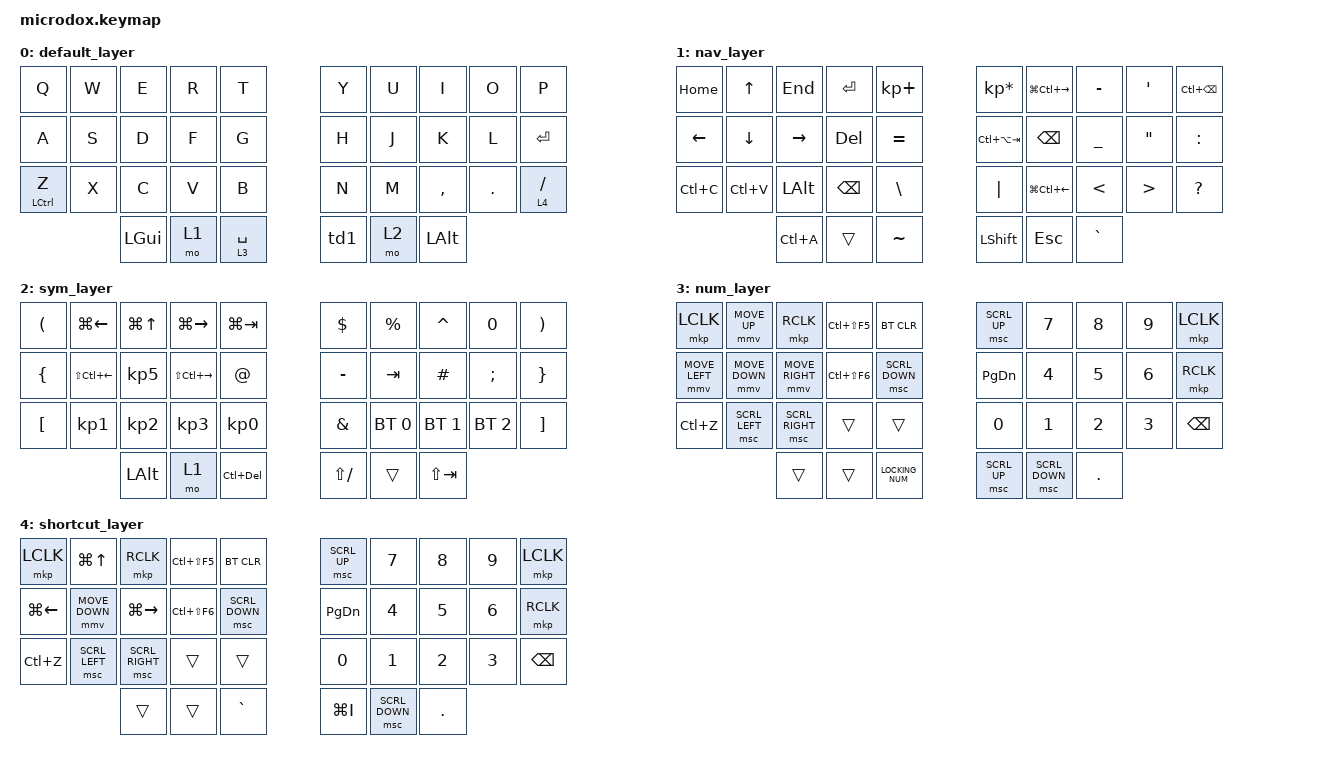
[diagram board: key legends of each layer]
/*
 * Copyright (c) 2020 The ZMK Contributors
 *
 * SPDX-License-Identifier: MIT
 */

 #include <behaviors.dtsi>
 #include <dt-bindings/zmk/keys.h>
 #include <dt-bindings/zmk/bt.h>
 #include <dt-bindings/zmk/pointing.h>

 // Ctrl+Shift+Alt combined modifier (avoids triple-nesting DTS parse error in Zephyr 4.1)
 #define MEH(kc) ((kc) | (0x07 << 24))

 #define SHORTCUT_LAYER 4

 // MOD TAB CTRL Z
 &mt {
     tapping-term-ms = <150>;
 };


// SHIFT AND CAPSLOCK
/ {
    behaviors {
        td1: tap_dance_0 {
            compatible = "zmk,behavior-tap-dance";
            label = "TAP_DANCE_0";
            #binding-cells = <0>;
            tapping-term-ms = <200>;
            bindings = <&kp LSHIFT>, <&kp CAPSLOCK>;
        };
    };
};

 / {
     macros {
         zed_em_kay: zed_em_kay {
             label = "ZM_zed_em_kay";
             compatible = "zmk,behavior-macro";
             #binding-cells = <0>;
             bindings
                 = <&macro_tap &kp HOME>
                 , <&macro_press &kp LSHFT>
                 , <&macro_tap &kp END>
                 , <&macro_release &kp LSHFT>
                 , <&macro_tap &kp BSPC>
                 , <&macro_tap &kp ESC> 
                 ;
         };
         zmk_clear: zmk_clear {
             label = "ZM_zmk_clear";
             compatible = "zmk,behavior-macro";
             #binding-cells = <0>;
             bindings
                 = <&macro_tap &kp C &kp L &kp E &kp A &kp R>
                 , <&macro_tap &kp RET>
                 ;
         };
     };
 };


 / {
     combos {
         compatible = "zmk,combos";
         combo_hash {
             timeout-ms = <50>;
             key-positions = <17 18>;
             bindings = <&kp HASH>;
             layers = <0>;
         };
        combo_at {
             timeout-ms = <50>;
             key-positions = <1 2>;
             bindings = <&kp AT>;
             layers = <0>;
         };
        combo_mul {
             timeout-ms = <50>;
             key-positions = <6 7>;
             bindings = <&kp KP_MULTIPLY>;
             layers = <0>;
         };
         combo_scroll_up {
            timeout-ms = <50>;
            key-positions = <5 6>;
            bindings = <&msc SCRL_UP>;
            layers = <0>;
        };
        combo_scroll_down {
            timeout-ms = <50>;
            key-positions = <15 16>;
            bindings = <&msc SCRL_DOWN>;
            layers = <0>;
        };
         combo_equal {
             timeout-ms = <50>;
             key-positions = <16 17>;
             bindings = <&kp EQUAL>;
             layers = <0>;
         };
         combo_plus {
             timeout-ms = <50>;
             key-positions = <26 27>;
             bindings = <&kp KP_PLUS>;
             layers = <0>;
         };
         combo_and {
             timeout-ms = <50>;
             key-positions = <27 28>;
             bindings = <&kp AMPS>;
             layers = <0>;
         };
         combo_excel {
             timeout-ms = <50>;
             key-positions = <22 23>;
             bindings = <&kp EXCL>;
             layers = <0>;
         };
        combo_tab {
             timeout-ms = <50>;
             key-positions = <11 12>;
             bindings = <&kp TAB>;
             layers = <0>;
         };
         combo_shift_tab {
            timeout-ms = <50>;
            key-positions = <11 13>;
            bindings = <&kp LS(TAB)>;
            layers = <0>;
        };
        combo_sel_line_home {
             timeout-ms = <50>;
             key-positions = <0 1>;
             bindings = <&kp LS(HOME)>;
             layers = <0>;
         };
        combo_sel_line_end {
             timeout-ms = <50>;
             key-positions = <8 9>;
             bindings = <&kp LS(END)>;
             layers = <0>;
         };
         combo_windows_paste_history {
             timeout-ms = <50>;
             key-positions = <21 22>;
             bindings = <&kp LG(V)>;
             layers = <0>;
         };
         combo_right_bksp {
             timeout-ms = <50>;
             key-positions = <18 19>;
             bindings = <&kp BSPC>; // TODO: option to change
             layers = <0>;
         };
         combo_command_palette {
             timeout-ms = <50>;
             key-positions = <12 17>;
             bindings = <&kp LC(LS(P))>;
             layers = <0>;
         };
         combo_find {
            timeout-ms = <50>;
            key-positions = <13 16>;
            bindings = <&kp LC(F)>;
            layers = <0>;
        };
         combo_top {
             timeout-ms = <50>;
             key-positions = <1 3>;
             bindings = <&kp LC(HOME)>; // TODO: option to change
             layers = <0>;
         };
         combo_bot {
             timeout-ms = <50>;
             key-positions = <21 23>;
             bindings = <&kp LC(END)>; // TODO: option to change
             layers = <0>;
         };
         combo_ctrl_tab {
            timeout-ms = <50>;
            key-positions = <16 17 18>;
            bindings = <&kp LC(TAB)>;
            layers = <0>;
        };
         combo_terminal {
             timeout-ms = <50>;
             key-positions = <11 18>;
             bindings = <&kp LC(J)>;
             layers = <0>;
         };
         combo_ctrl_shift_tab {
             timeout-ms = <50>;
             key-positions = <6 7 8>;
             bindings = <&kp LC(LS(TAB))>;
             layers = <0>;
         };
         combo_dot_n {
             timeout-ms = <50>;
             key-positions = <27 28>;
             bindings = <&kp DOT>;
             layers = <3>;
         };
        combo_editor_hide_show {
             timeout-ms = <50>;
             key-positions = <1 2>;
             bindings = <&kp LC(B)>;
             layers = <1>;
         };
         // Window operations
         combo_window_left {
            timeout-ms = <50>;
            key-positions = <0 5>;
            bindings = <&kp MEH(X)>;
            layers = <0>;
        };
        combo_window_right {
            timeout-ms = <50>;
            key-positions = <4 9>;
            bindings = <&kp MEH(B)>;
            layers = <0>;
        };
        combo_window_maximize {
            timeout-ms = <50>;
            key-positions = <2 7>;
            bindings = <&kp MEH(M)>;
            layers = <0>;
        };
        combo_window_center {
            timeout-ms = <50>;
            key-positions = <0 9>;
            bindings = <&kp MEH(L)>;
            layers = <0>;
        };
        combo_window_center_big {
            timeout-ms = <50>;
            key-positions = <10 19>;
            bindings = <&kp MEH(K)>;
            layers = <0>;
        };
        combo_cursor_app {
            timeout-ms = <50>;
            key-positions = <32 33>;
            bindings = <&kp MEH(V)>;
            layers = <0>;
        };
        combo_chrome_app {
            timeout-ms = <50>;
            key-positions = <22 27>;
            bindings = <&kp MEH(C)>;
            layers = <0>;
        };
        combo_edge_app {
            timeout-ms = <50>;
            key-positions = <21 28>;
            bindings = <&kp MEH(E)>;
            layers = <0>;
        };
        combo_terminal_app {
            timeout-ms = <50>;
            key-positions = <24 25>;
            bindings = <&kp MEH(T)>;
            layers = <0>;
        };
        combo_claude_app {
            timeout-ms = <50>;
            key-positions = <23 26>;
            bindings = <&kp MEH(S)>;
            layers = <0>;
        };
     };
 };

 / {
         keymap {
                 compatible = "zmk,keymap";

                default_layer {
                        bindings = <
    &kp Q          &kp W          &kp E          &kp R          &kp T               &kp Y          &kp U          &kp I          &kp O          &kp P
    &kp A          &kp S          &kp D          &kp F          &kp G               &kp H          &kp J          &kp K          &kp L          &kp RET
    &mt LCTRL Z    &kp X          &kp C          &kp V          &kp B               &kp N          &kp M          &kp COMMA      &kp DOT        &lt 4 FSLH
                                  &kp LGUI       &mo 1          &lt 3 SPACE         &td1           &mo 2          &kp LALT
                        >;
                };
                nav_layer {
                        // -----------------------------------------------------------------------------------------
                        bindings = <
    &kp HOME       &kp UP         &kp END        &kp RET        &kp KP_PLUS         &kp KP_MULTIPLY  &kp LG(LC(RIGHT))   &kp MINUS      &kp SQT       &kp LC(BSPC)
    &kp LEFT       &kp DOWN       &kp RIGHT      &kp DEL        &kp EQUAL           &kp LC(LA(TAB))  &kp BSPC            &kp UNDER      &kp DQT        &kp COLON
    &kp LC(C)      &kp LC(V)      &kp LALT       &kp BSPC       &kp BSLH            &kp PIPE         &kp LG(LC(LEFT))    &kp LT         &kp GT         &kp QMARK
                                  &kp LC(A)      &trans         &kp TILDE           &kp LSHIFT       &kp ESC             &kp GRAVE
                        >;
                };

                sym_layer {
                        // -----------------------------------------------------------------------------------------
                        bindings = <
    &kp LPAR       &kp LG(LEFT)      &kp LG(UP)     &kp LG(RIGHT)      &kp LG(TAB)         &kp DOLLAR     &kp PRCNT      &kp CARET      &kp 0          &kp RPAR
    &kp LBRC       &kp LS(LC(LEFT))  &kp KP_N5      &kp LS(LC(RIGHT))  &kp AT              &kp MINUS      &kp TAB        &kp HASH       &kp SEMI       &kp RBRC
    &kp LBKT       &kp KP_N1         &kp KP_N2      &kp KP_N3          &kp KP_N0           &kp AMPS       &bt BT_SEL 0   &bt BT_SEL 1   &bt BT_SEL 2   &kp RBKT
                                     &kp LALT       &mo 1              &kp LC(DEL)         &kp LS(FSLH)   &trans         &kp LS(TAB)
                        >;
                };

                num_layer {
                        // -----------------------------------------------------------------------------------------
                        bindings = <
    &mkp LCLK      &mmv MOVE_UP   &mkp RCLK      &kp LC(LS(F5)) &bt BT_CLR          &msc SCRL_UP   &kp N7         &kp N8         &kp N9         &mkp LCLK
    &mmv MOVE_LEFT &mmv MOVE_DOWN &mmv MOVE_RIGHT &kp LC(LS(F6)) &msc SCRL_DOWN       &kp PAGE_DOWN  &kp N4         &kp N5         &kp N6         &mkp RCLK
    &kp LC(Z)      &msc SCRL_LEFT &msc SCRL_RIGHT &trans         &trans              &kp N0         &kp N1         &kp N2         &kp N3         &kp BSPC
                                  &trans         &trans         &kp LOCKING_NUM     &msc SCRL_UP   &msc SCRL_DOWN &kp DOT
                        >;
                };
                shortcut_layer {
                        // -----------------------------------------------------------------------------------------
                        bindings = <
    &mkp LCLK      &kp LG(UP)     &mkp RCLK      &kp LC(LS(F5)) &bt BT_CLR          &msc SCRL_UP   &kp N7         &kp N8         &kp N9         &mkp LCLK
    &kp LG(LEFT)   &mmv MOVE_DOWN &kp LG(RIGHT)  &kp LC(LS(F6)) &msc SCRL_DOWN       &kp PAGE_DOWN  &kp N4         &kp N5         &kp N6         &mkp RCLK
    &kp LC(Z)      &msc SCRL_LEFT &msc SCRL_RIGHT &trans         &trans              &kp N0         &kp N1         &kp N2         &kp N3         &kp BSPC
                                  &trans         &trans         &kp GRAVE     &kp LG(I)      &msc SCRL_DOWN &kp DOT
                        >;
                };
         };
 };
